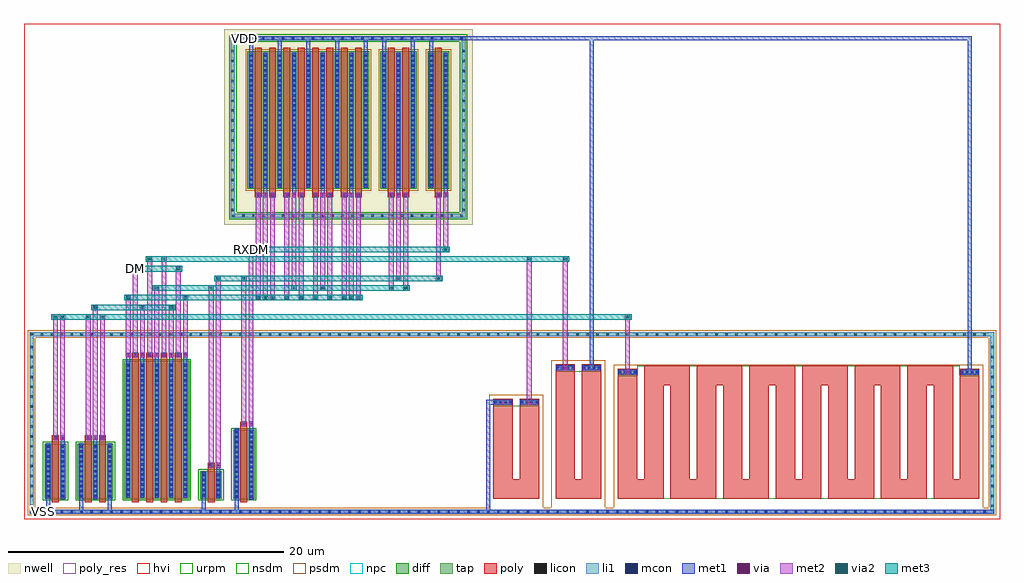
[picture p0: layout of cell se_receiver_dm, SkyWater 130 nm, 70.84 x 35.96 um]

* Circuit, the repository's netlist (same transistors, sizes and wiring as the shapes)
* se_receiver_dm -- exported by design/export_netlist.sh from design/se_receiver_dm.sch (xschem, sky130 symbols)
* Do not edit: edit the schematic and re-run the export.
** sch_path: design/se_receiver_dm.sch
.subckt se_receiver_dm VDD VSS DM RXDM
*.iopin VDD
*.iopin VSS
*.ipin DM
*.iopin RXDM
XR1 VREF VDD VSS sky130_fd_pr__res_xhigh_po_1p41 L=19 mult=1 m=1
XR2 VSS VREF VSS sky130_fd_pr__res_xhigh_po_1p41 L=14 mult=1 m=1
XRBIAS IBIASN VDD VSS sky130_fd_pr__res_xhigh_po_1p41 L=140 mult=1 m=1
XMNBIAS IBIASN IBIASN VSS VSS sky130_fd_pr__nfet_g5v0d10v5 L=0.5 W=4 nf=1 ad=1.16 as=1.16 pd=8.58
+ ps=8.58 nrd=0.0725 nrs=0.0725 sa=0 sb=0 sd=0 mult=1 m=1
XMTAIL TAIL IBIASN VSS VSS sky130_fd_pr__nfet_g5v0d10v5 L=0.5 W=4 nf=1 ad=1.16 as=1.16 pd=8.58
+ ps=8.58 nrd=0.0725 nrs=0.0725 sa=0 sb=0 sd=0 mult=2 m=2
XMN_INA LOADDIODE DM TAIL VSS sky130_fd_pr__nfet_g5v0d10v5 L=0.5 W=10 nf=1 ad=2.9 as=2.9 pd=20.58
+ ps=20.58 nrd=0.029 nrs=0.029 sa=0 sb=0 sd=0 mult=2 m=2
XMN_INB AMPOUT VREF TAIL VSS sky130_fd_pr__nfet_g5v0d10v5 L=0.5 W=10 nf=1 ad=2.9 as=2.9 pd=20.58
+ ps=20.58 nrd=0.029 nrs=0.029 sa=0 sb=0 sd=0 mult=2 m=2
XMP_LOADA LOADDIODE LOADDIODE VDD VDD sky130_fd_pr__pfet_g5v0d10v5 L=0.5 W=10 nf=1 ad=2.9 as=2.9
+ pd=20.58 ps=20.58 nrd=0.029 nrs=0.029 sa=0 sb=0 sd=0 mult=4 m=4
XMP_LOADB AMPOUT LOADDIODE VDD VDD sky130_fd_pr__pfet_g5v0d10v5 L=0.5 W=10 nf=1 ad=2.9 as=2.9
+ pd=20.58 ps=20.58 nrd=0.029 nrs=0.029 sa=0 sb=0 sd=0 mult=4 m=4
XMP_B1 BUF1 AMPOUT VDD VDD sky130_fd_pr__pfet_g5v0d10v5 L=0.5 W=20 nf=1 ad=5.8 as=5.8 pd=40.58
+ ps=40.58 nrd=0.0145 nrs=0.0145 sa=0 sb=0 sd=0 mult=1 m=1
XMN_B1 BUF1 AMPOUT VSS VSS sky130_fd_pr__nfet_g5v0d10v5 L=0.5 W=2 nf=1 ad=0.58 as=0.58 pd=4.58
+ ps=4.58 nrd=0.145 nrs=0.145 sa=0 sb=0 sd=0 mult=1 m=1
XMP_B2 RXDM BUF1 VDD VDD sky130_fd_pr__pfet_g5v0d10v5 L=0.5 W=10 nf=1 ad=2.9 as=2.9 pd=20.58
+ ps=20.58 nrd=0.029 nrs=0.029 sa=0 sb=0 sd=0 mult=1 m=1
XMN_B2 RXDM BUF1 VSS VSS sky130_fd_pr__nfet_g5v0d10v5 L=0.5 W=5 nf=1 ad=1.45 as=1.45 pd=10.58
+ ps=10.58 nrd=0.058 nrs=0.058 sa=0 sb=0 sd=0 mult=1 m=1
.ends

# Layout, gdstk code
import gdstk
lib = gdstk.Library(unit=1e-6, precision=1e-09)
def R(c, l, rs):  # rectangles x0, y0, x1, y1
    for r in rs: c.add(gdstk.rectangle(r[:2], r[2:], *l))
def A(c, l, x, y, w, h, nx, ny, dx, dy):  # array of equal rectangles
    R(c, l, [(x+i*dx, y+j*dy, x+i*dx+w, y+j*dy+h) for i in range(nx) for j in range(ny)])
def P(c, l, *ps):  # polygons
    for p in ps: c.add(gdstk.Polygon(p, *l))
nwell = (64, 20)
diff = (65, 20)
tap = (65, 44)
poly_res = (66, 13)
poly = (66, 20)
licon = (66, 44)
li1 = (67, 20)
mcon = (67, 44)
met1 = (68, 20)
via = (68, 44)
met2 = (69, 20)
via2 = (69, 44)
met3 = (70, 20)
hvi = (75, 20)
urpm = (79, 20)
nsdm = (93, 44)
psdm = (94, 20)
npc = (95, 20)

se_receiver_dm = lib.new_cell('se_receiver_dm')
R(se_receiver_dm, nwell, [(14.12,20.98,32.16,35.16)])
R(se_receiver_dm, diff, [(1.09,1.09,2.67,5.09), (3.47,1.09,6.09,5.09), (6.89,1.09,11.59,11.09), (12.39,1.09,13.97,3.09), (14.77,1.09,16.35,6.09), (15.81,23.57,24.67,33.57), (25.47,23.57,28.09,33.57), (28.89,23.57,30.47,33.57)])
R(se_receiver_dm, tap, [(0,0,0.29,13.18), (0,0,70.04,0.29), (69.75,0,70.04,13.18), (0,12.89,70.04,13.18), (14.62,21.48,31.66,21.77), (14.62,21.48,14.91,34.66), (31.37,21.48,31.66,34.66), (14.62,34.37,31.66,34.66)])
R(se_receiver_dm, poly_res, [(33.66,1.09,36.98,7.84), (38.18,1.09,41.5,10.34)])
P(se_receiver_dm, poly_res, [(42.7,1.09),(42.7,10.02),(44.12,10.02),(44.12,10.725),(67.52,10.725),(67.52,10.02),(68.94,10.02),(68.94,1.09)])
A(se_receiver_dm, poly, 7.43, 0.84, 0.5, 10.85, 4, 1, 1.04, 0)
A(se_receiver_dm, poly, 16.35, 22.97, 0.5, 10.85, 8, 1, 1.04, 0)
R(se_receiver_dm, poly, [(1.63,0.84,2.13,5.69), (4.01,0.84,4.51,5.69), (5.05,0.84,5.55,5.69), (12.93,0.84,13.43,3.69), (15.31,0.84,15.81,6.69), (33.66,7.84,35.07,8.34), (35.57,7.84,36.98,8.34), (42.7,10.02,44.11,10.52), (67.53,10.02,68.94,10.52), (38.18,10.34,39.59,10.84), (40.09,10.34,41.5,10.84), (26.01,22.97,26.51,33.82), (27.05,22.97,27.55,33.82), (29.43,22.97,29.93,33.82)])
P(se_receiver_dm, poly, [(33.66,1.09),(33.66,7.84),(35.07,7.84),(35.07,2.5),(35.57,2.5),(35.57,7.84),(36.98,7.84),(36.98,1.09)],
  [(38.18,1.09),(38.18,10.34),(39.59,10.34),(39.59,2.5),(40.09,2.5),(40.09,10.34),(41.5,10.34),(41.5,1.09)],
  [(42.7,1.09),(42.7,10.02),(44.11,10.02),(44.11,2.5),(44.61,2.5),(44.61,10.725),(47.93,10.725),(47.93,2.5),(48.43,2.5),(48.43,10.725),(51.75,10.725),(51.75,2.5),(52.25,2.5),(52.25,10.725),(55.57,10.725),(55.57,2.5),(56.07,2.5),(56.07,10.725),(59.39,10.725),(59.39,2.5),(59.89,2.5),(59.89,10.725),(63.21,10.725),(63.21,2.5),(63.71,2.5),(63.71,10.725),(67.03,10.725),(67.03,2.5),(67.53,2.5),(67.53,10.02),(68.94,10.02),(68.94,1.09),(65.62,1.09),(65.62,9.315),(65.12,9.315),(65.12,1.09),(61.8,1.09),(61.8,9.315),(61.3,9.315),(61.3,1.09),(57.98,1.09),(57.98,9.315),(57.48,9.315),(57.48,1.09),(54.16,1.09),(54.16,9.315),(53.66,9.315),(53.66,1.09),(50.34,1.09),(50.34,9.315),(49.84,9.315),(49.84,1.09),(46.52,1.09),(46.52,9.315),(46.02,9.315),(46.02,1.09)])
A(se_receiver_dm, licon, 0.1, 0.06, 0.17, 0.17, 97, 2, 0.72, 12.89)
A(se_receiver_dm, licon, 0.06, 0.49, 0.17, 0.17, 1, 17, 0, 0.72)
A(se_receiver_dm, licon, 69.81, 0.49, 0.17, 0.17, 1, 17, 0, 0.72)
A(se_receiver_dm, licon, 14.955, 1.155, 0.17, 0.17, 1, 14, 0, 0.36)
A(se_receiver_dm, licon, 15.995, 1.155, 0.17, 0.17, 1, 14, 0, 0.36)
A(se_receiver_dm, licon, 1.275, 1.195, 0.17, 0.17, 1, 11, 0, 0.36)
A(se_receiver_dm, licon, 2.315, 1.195, 0.17, 0.17, 1, 11, 0, 0.36)
A(se_receiver_dm, licon, 3.655, 1.195, 0.17, 0.17, 3, 11, 1.04, 0.36)
A(se_receiver_dm, licon, 12.575, 1.275, 0.17, 0.17, 1, 5, 0, 0.36)
A(se_receiver_dm, licon, 13.615, 1.275, 0.17, 0.17, 1, 5, 0, 0.36)
A(se_receiver_dm, licon, 7.075, 1.315, 0.17, 0.17, 5, 27, 1.04, 0.36)
A(se_receiver_dm, licon, 33.74, 8.005, 0.17, 0.17, 4, 1, 0.36, 0)
A(se_receiver_dm, licon, 35.65, 8.005, 0.17, 0.17, 4, 1, 0.36, 0)
A(se_receiver_dm, licon, 42.78, 10.185, 0.17, 0.17, 4, 1, 0.36, 0)
A(se_receiver_dm, licon, 67.61, 10.185, 0.17, 0.17, 4, 1, 0.36, 0)
A(se_receiver_dm, licon, 38.26, 10.505, 0.17, 0.17, 4, 1, 0.36, 0)
A(se_receiver_dm, licon, 40.17, 10.505, 0.17, 0.17, 4, 1, 0.36, 0)
A(se_receiver_dm, licon, 7.595, 11.44, 0.17, 0.17, 4, 1, 1.04, 0)
A(se_receiver_dm, licon, 14.72, 21.54, 0.17, 0.17, 24, 2, 0.72, 12.89)
A(se_receiver_dm, licon, 14.68, 21.97, 0.17, 0.17, 1, 17, 0, 0.72)
A(se_receiver_dm, licon, 31.43, 21.97, 0.17, 0.17, 1, 17, 0, 0.72)
A(se_receiver_dm, licon, 16.515, 23.05, 0.17, 0.17, 8, 1, 1.04, 0)
A(se_receiver_dm, licon, 15.995, 23.795, 0.17, 0.17, 9, 27, 1.04, 0.36)
A(se_receiver_dm, licon, 25.655, 23.795, 0.17, 0.17, 3, 27, 1.04, 0.36)
A(se_receiver_dm, licon, 29.075, 23.795, 0.17, 0.17, 1, 27, 0, 0.36)
A(se_receiver_dm, licon, 30.115, 23.795, 0.17, 0.17, 1, 27, 0, 0.36)
R(se_receiver_dm, licon, [(13.095,3.44,13.265,3.61), (1.795,5.44,1.965,5.61), (4.175,5.44,4.345,5.61), (5.215,5.44,5.385,5.61), (15.475,6.44,15.645,6.61), (26.175,23.05,26.345,23.22), (27.215,23.05,27.385,23.22), (29.595,23.05,29.765,23.22)])
A(se_receiver_dm, li1, 3.575, 1.115, 0.33, 3.93, 3, 1, 1.04, 0)
A(se_receiver_dm, li1, 6.995, 1.235, 0.33, 9.69, 5, 1, 1.04, 0)
A(se_receiver_dm, li1, 7.515, 11.36, 0.33, 0.33, 4, 1, 1.04, 0)
A(se_receiver_dm, li1, 16.435, 22.97, 0.33, 0.33, 8, 1, 1.04, 0)
A(se_receiver_dm, li1, 15.915, 23.715, 0.33, 9.69, 9, 1, 1.04, 0)
A(se_receiver_dm, li1, 25.575, 23.715, 0.33, 9.69, 3, 1, 1.04, 0)
R(se_receiver_dm, li1, [(0,0,0.29,13.18), (0,0,70.04,0.29), (69.75,0,70.04,13.18), (14.875,1.075,15.205,6.085), (15.915,1.075,16.245,6.085), (1.195,1.115,1.525,5.045), (2.235,1.115,2.565,5.045), (12.495,1.195,12.825,2.965), (13.535,1.195,13.865,2.965), (13.015,3.36,13.345,3.69), (1.715,5.36,2.045,5.69), (4.095,5.36,4.425,5.69), (5.135,5.36,5.465,5.69), (15.395,6.36,15.725,6.69), (33.725,7.925,35.005,8.255), (35.635,7.925,36.915,8.255), (42.765,10.105,44.045,10.435), (67.595,10.105,68.875,10.435), (38.245,10.425,39.525,10.755), (40.155,10.425,41.435,10.755), (0,12.89,70.04,13.18), (14.62,21.48,31.66,21.77), (14.62,21.48,14.91,34.66), (31.37,21.48,31.66,34.66), (26.095,22.97,26.425,23.3), (27.135,22.97,27.465,23.3), (29.515,22.97,29.845,23.3), (28.995,23.715,29.325,33.405), (30.035,23.715,30.365,33.405), (14.62,34.37,31.66,34.66)])
A(se_receiver_dm, mcon, 0.1, 0.06, 0.17, 0.17, 97, 1, 0.72, 0)
A(se_receiver_dm, mcon, 14.955, 1.155, 0.17, 0.17, 1, 14, 0, 0.36)
A(se_receiver_dm, mcon, 15.995, 1.155, 0.17, 0.17, 1, 14, 0, 0.36)
A(se_receiver_dm, mcon, 1.275, 1.195, 0.17, 0.17, 1, 11, 0, 0.36)
A(se_receiver_dm, mcon, 2.315, 1.195, 0.17, 0.17, 1, 11, 0, 0.36)
A(se_receiver_dm, mcon, 3.655, 1.195, 0.17, 0.17, 3, 11, 1.04, 0.36)
A(se_receiver_dm, mcon, 12.575, 1.275, 0.17, 0.17, 1, 5, 0, 0.36)
A(se_receiver_dm, mcon, 13.615, 1.275, 0.17, 0.17, 1, 5, 0, 0.36)
A(se_receiver_dm, mcon, 7.075, 1.315, 0.17, 0.17, 5, 27, 1.04, 0.36)
A(se_receiver_dm, mcon, 33.74, 8.005, 0.17, 0.17, 4, 1, 0.36, 0)
A(se_receiver_dm, mcon, 35.65, 8.005, 0.17, 0.17, 4, 1, 0.36, 0)
A(se_receiver_dm, mcon, 42.78, 10.185, 0.17, 0.17, 4, 1, 0.36, 0)
A(se_receiver_dm, mcon, 67.61, 10.185, 0.17, 0.17, 4, 1, 0.36, 0)
A(se_receiver_dm, mcon, 38.26, 10.505, 0.17, 0.17, 4, 1, 0.36, 0)
A(se_receiver_dm, mcon, 40.17, 10.505, 0.17, 0.17, 4, 1, 0.36, 0)
A(se_receiver_dm, mcon, 7.595, 11.44, 0.17, 0.17, 4, 1, 1.04, 0)
A(se_receiver_dm, mcon, 16.515, 23.05, 0.17, 0.17, 8, 1, 1.04, 0)
A(se_receiver_dm, mcon, 15.995, 23.795, 0.17, 0.17, 9, 27, 1.04, 0.36)
A(se_receiver_dm, mcon, 25.655, 23.795, 0.17, 0.17, 3, 27, 1.04, 0.36)
A(se_receiver_dm, mcon, 29.075, 23.795, 0.17, 0.17, 1, 27, 0, 0.36)
A(se_receiver_dm, mcon, 30.115, 23.795, 0.17, 0.17, 1, 27, 0, 0.36)
A(se_receiver_dm, mcon, 14.72, 34.43, 0.17, 0.17, 24, 1, 0.72, 0)
R(se_receiver_dm, mcon, [(13.095,3.44,13.265,3.61), (1.795,5.44,1.965,5.61), (4.175,5.44,4.345,5.61), (5.215,5.44,5.385,5.61), (15.475,6.44,15.645,6.61), (26.175,23.05,26.345,23.22), (27.215,23.05,27.385,23.22), (29.595,23.05,29.765,23.22)])
A(se_receiver_dm, met1, 7.015, 1.17, 0.29, 10.355, 5, 1, 1.04, 0)
A(se_receiver_dm, met1, 4.085, 5.35, 0.35, 0.35, 3, 1, 0.52, 0)
A(se_receiver_dm, met1, 7.505, 11.35, 0.35, 0.35, 3, 1, 0.52, 0)
A(se_receiver_dm, met1, 8.545, 11.35, 0.35, 0.35, 3, 1, 0.52, 0)
A(se_receiver_dm, met1, 9.585, 11.35, 0.35, 0.35, 3, 1, 0.52, 0)
A(se_receiver_dm, met1, 16.425, 22.96, 0.35, 0.35, 3, 1, 0.52, 0)
A(se_receiver_dm, met1, 18.505, 22.96, 0.35, 0.35, 3, 1, 0.52, 0)
A(se_receiver_dm, met1, 20.585, 22.96, 0.35, 0.35, 3, 1, 0.52, 0)
A(se_receiver_dm, met1, 22.665, 22.96, 0.35, 0.35, 3, 1, 0.52, 0)
A(se_receiver_dm, met1, 26.085, 22.96, 0.35, 0.35, 3, 1, 0.52, 0)
A(se_receiver_dm, met1, 16.975, 23.135, 0.29, 10.335, 4, 1, 2.08, 0)
A(se_receiver_dm, met1, 15.935, 23.65, 0.29, 10.72, 5, 1, 2.08, 0)
R(se_receiver_dm, met1, [(0,0,70.04,0.29), (33.16,0,33.45,8.265), (1.215,0.29,1.505,5.11), (3.595,0.29,3.885,5.11), (5.675,0.29,5.965,5.11), (12.515,0.29,12.805,3.03), (14.895,0.29,15.185,6.15), (15.935,1.01,16.225,6.525), (2.255,1.05,2.545,5.525), (4.635,1.05,4.925,5.525), (13.555,1.13,13.845,3.525), (13.005,3.35,13.355,3.7), (13.005,3.35,13.355,3.7), (13.525,3.35,13.875,3.7), (1.705,5.35,2.055,5.7), (1.705,5.35,2.055,5.7), (2.225,5.35,2.575,5.7), (4.085,5.35,4.435,5.7), (5.125,5.35,5.475,5.7), (15.385,6.35,15.735,6.7), (15.385,6.35,15.735,6.7), (15.905,6.35,16.255,6.7), (33.16,7.915,33.965,8.265), (33.705,7.915,35.025,8.265), (35.615,7.915,36.935,8.265), (36.1,7.915,36.45,8.265), (42.745,10.095,44.065,10.445), (43.23,10.095,43.58,10.445), (67.575,10.095,68.895,10.445), (68.09,10.095,68.38,34.66), (38.225,10.415,39.545,10.765), (38.71,10.415,39.06,10.765), (40.135,10.415,41.455,10.765), (40.65,10.415,40.94,34.66), (6.985,11.35,7.335,11.7), (7.505,11.35,7.855,11.7), (10.625,11.35,10.975,11.7), (11.145,11.35,11.495,11.7), (16.425,22.96,16.775,23.31), (17.465,22.96,17.815,23.31), (18.505,22.96,18.855,23.31), (19.545,22.96,19.895,23.31), (20.585,22.96,20.935,23.31), (21.625,22.96,21.975,23.31), (22.665,22.96,23.015,23.31), (23.705,22.96,24.055,23.31), (26.085,22.96,26.435,23.31), (27.125,22.96,27.475,23.31), (29.505,22.96,29.855,23.31), (29.505,22.96,29.855,23.31), (30.025,22.96,30.375,23.31), (26.635,23.135,26.925,33.47), (30.055,23.135,30.345,33.47), (25.595,23.65,25.885,34.37), (27.675,23.65,27.965,34.37), (29.015,23.65,29.305,34.37), (14.62,34.37,31.66,34.66), (31.56,34.37,68.38,34.66)])
A(se_receiver_dm, via, 4.185, 5.45, 0.15, 0.15, 3, 1, 0.52, 0)
A(se_receiver_dm, via, 7.085, 11.45, 0.15, 0.15, 9, 1, 0.52, 0)
A(se_receiver_dm, via, 16.525, 23.06, 0.15, 0.15, 3, 1, 0.52, 0)
A(se_receiver_dm, via, 18.605, 23.06, 0.15, 0.15, 3, 1, 0.52, 0)
A(se_receiver_dm, via, 20.685, 23.06, 0.15, 0.15, 3, 1, 0.52, 0)
A(se_receiver_dm, via, 22.765, 23.06, 0.15, 0.15, 3, 1, 0.52, 0)
A(se_receiver_dm, via, 26.185, 23.06, 0.15, 0.15, 3, 1, 0.52, 0)
R(se_receiver_dm, via, [(13.105,3.45,13.255,3.6), (13.625,3.45,13.775,3.6), (1.805,5.45,1.955,5.6), (2.325,5.45,2.475,5.6), (15.485,6.45,15.635,6.6), (16.005,6.45,16.155,6.6), (36.2,8.015,36.35,8.165), (43.33,10.195,43.48,10.345), (38.81,10.515,38.96,10.665), (29.605,23.06,29.755,23.21), (30.125,23.06,30.275,23.21)])
A(se_receiver_dm, met2, 16.41, 15.49, 0.38, 0.38, 3, 1, 0.52, 0)
A(se_receiver_dm, met2, 18.49, 15.49, 0.38, 0.38, 5, 1, 1.04, 0)
A(se_receiver_dm, met2, 16.425, 15.505, 0.35, 7.805, 3, 1, 0.52, 0)
A(se_receiver_dm, met2, 18.505, 15.505, 0.35, 7.805, 5, 1, 1.04, 0)
R(se_receiver_dm, met2, [(13.005,3.35,13.355,16.555), (13.525,3.35,13.875,17.255), (1.705,5.35,2.055,14.455), (2.225,5.35,2.575,14.455), (4.085,5.35,4.435,14.455), (4.605,5.35,4.955,15.155), (5.125,5.35,5.475,14.455), (15.385,6.35,15.735,17.255), (15.905,6.35,16.255,19.355), (36.1,7.915,36.45,18.655), (43.23,10.095,43.58,14.455), (38.71,10.415,39.06,18.655), (6.985,11.35,7.335,15.855), (7.505,11.35,7.855,17.955), (8.025,11.35,8.375,15.155), (8.545,11.35,8.895,18.655), (9.065,11.35,9.415,16.555), (9.585,11.35,9.935,18.655), (10.105,11.35,10.455,15.155), (10.625,11.35,10.975,17.955), (11.145,11.35,11.495,15.855), (1.69,14.09,2.07,14.47), (2.21,14.09,2.59,14.47), (4.07,14.09,4.45,14.47), (5.11,14.09,5.49,14.47), (43.215,14.09,43.595,14.47), (4.59,14.79,4.97,15.17), (8.01,14.79,8.39,15.17), (10.09,14.79,10.47,15.17), (6.97,15.49,7.35,15.87), (11.13,15.49,11.51,15.87), (23.17,15.49,23.55,15.87), (23.69,15.49,24.07,15.87), (23.185,15.505,23.535,23.31), (23.705,15.505,24.055,23.31), (9.05,16.19,9.43,16.57), (12.99,16.19,13.37,16.57), (19.01,16.19,19.39,16.57), (21.09,16.19,21.47,16.57), (26.07,16.19,26.45,16.57), (27.11,16.19,27.49,16.57), (19.025,16.205,19.375,23.31), (21.105,16.205,21.455,23.31), (26.085,16.205,26.435,23.31), (27.125,16.205,27.475,23.31), (13.51,16.89,13.89,17.27), (15.37,16.89,15.75,17.27), (26.59,16.89,26.97,17.27), (29.49,16.89,29.87,17.27), (26.605,16.905,26.955,23.31), (29.505,16.905,29.855,23.31), (7.49,17.59,7.87,17.97), (10.61,17.59,10.99,17.97), (8.53,18.29,8.91,18.67), (9.57,18.29,9.95,18.67), (36.085,18.29,36.465,18.67), (38.695,18.29,39.075,18.67), (15.89,18.99,16.27,19.37), (30.01,18.99,30.39,19.37), (30.025,19.005,30.375,23.31)])
A(se_receiver_dm, via2, 16.5, 15.58, 0.2, 0.2, 3, 1, 0.52, 0)
A(se_receiver_dm, via2, 18.58, 15.58, 0.2, 0.2, 5, 1, 1.04, 0)
R(se_receiver_dm, via2, [(1.78,14.18,1.98,14.38), (2.3,14.18,2.5,14.38), (4.16,14.18,4.36,14.38), (5.2,14.18,5.4,14.38), (43.305,14.18,43.505,14.38), (4.68,14.88,4.88,15.08), (8.1,14.88,8.3,15.08), (10.18,14.88,10.38,15.08), (7.06,15.58,7.26,15.78), (11.22,15.58,11.42,15.78), (23.26,15.58,23.46,15.78), (23.78,15.58,23.98,15.78), (9.14,16.28,9.34,16.48), (13.08,16.28,13.28,16.48), (19.1,16.28,19.3,16.48), (21.18,16.28,21.38,16.48), (26.16,16.28,26.36,16.48), (27.2,16.28,27.4,16.48), (13.6,16.98,13.8,17.18), (15.46,16.98,15.66,17.18), (26.68,16.98,26.88,17.18), (29.58,16.98,29.78,17.18), (7.58,17.68,7.78,17.88), (10.7,17.68,10.9,17.88), (8.62,18.38,8.82,18.58), (9.66,18.38,9.86,18.58), (36.175,18.38,36.375,18.58), (38.785,18.38,38.985,18.58), (15.98,19.08,16.18,19.28), (30.1,19.08,30.3,19.28)])
R(se_receiver_dm, met3, [(1.58,14.08,43.705,14.48), (4.48,14.78,10.58,15.18), (6.86,15.48,24.18,15.88), (8.94,16.18,27.6,16.58), (13.4,16.88,29.98,17.28), (7.38,17.58,11.1,17.98), (8.42,18.28,39.185,18.68), (15.78,18.98,30.5,19.38)])
R(se_receiver_dm, hvi, [(-0.4,-0.4,70.44,35.56)])
R(se_receiver_dm, urpm, [(33.66,1.09,36.98,7.84), (38.18,1.09,41.5,10.34)])
P(se_receiver_dm, urpm, [(42.7,1.09),(42.7,10.02),(44.12,10.02),(44.12,10.725),(67.52,10.725),(67.52,10.02),(68.94,10.02),(68.94,1.09)])
R(se_receiver_dm, nsdm, [(0.965,0.965,2.795,5.215), (3.345,0.965,6.215,5.215), (6.765,0.965,11.715,11.215), (12.265,0.965,14.095,3.215), (14.645,0.965,16.475,6.215), (14.495,21.355,31.785,21.895), (14.495,21.355,15.035,34.785), (31.245,21.355,31.785,34.785), (14.495,34.245,31.785,34.785)])
R(se_receiver_dm, psdm, [(-0.125,-0.125,70.165,0.415), (-0.125,-0.125,0.415,13.305), (69.625,-0.125,70.165,13.305), (33.36,0.3,37.28,8.64), (37.88,0.3,41.8,11.14), (42.4,0.3,69.24,10.82), (-0.125,12.765,70.165,13.305), (15.685,23.445,24.795,33.695), (25.345,23.445,28.215,33.695), (28.765,23.445,30.595,33.695)])
A(se_receiver_dm, npc, 7.495, 11.34, 0.37, 0.37, 4, 1, 1.04, 0)
A(se_receiver_dm, npc, 16.415, 22.95, 0.37, 0.37, 8, 1, 1.04, 0)
R(se_receiver_dm, npc, [(12.995,3.34,13.365,3.71), (1.695,5.34,2.065,5.71), (4.075,5.34,4.445,5.71), (5.115,5.34,5.485,5.71), (15.375,6.34,15.745,6.71), (33.76,7.905,34.97,8.275), (35.67,7.905,36.88,8.275), (42.8,10.085,44.01,10.455), (67.63,10.085,68.84,10.455), (38.28,10.405,39.49,10.775), (40.19,10.405,41.4,10.775), (26.075,22.95,26.445,23.32), (27.115,22.95,27.485,23.32), (29.495,22.95,29.865,23.32)])
se_receiver_dm.add(gdstk.Label('VSS', (1,0.145), layer=68, texttype=5))
se_receiver_dm.add(gdstk.Label('VDD', (15.62,34.515), layer=68, texttype=5))
se_receiver_dm.add(gdstk.Label('DM', (7.68,17.78), layer=70, texttype=5))
se_receiver_dm.add(gdstk.Label('RXDM', (16.08,19.18), layer=70, texttype=5))

lib.write_gds('se_receiver_dm.gds')
